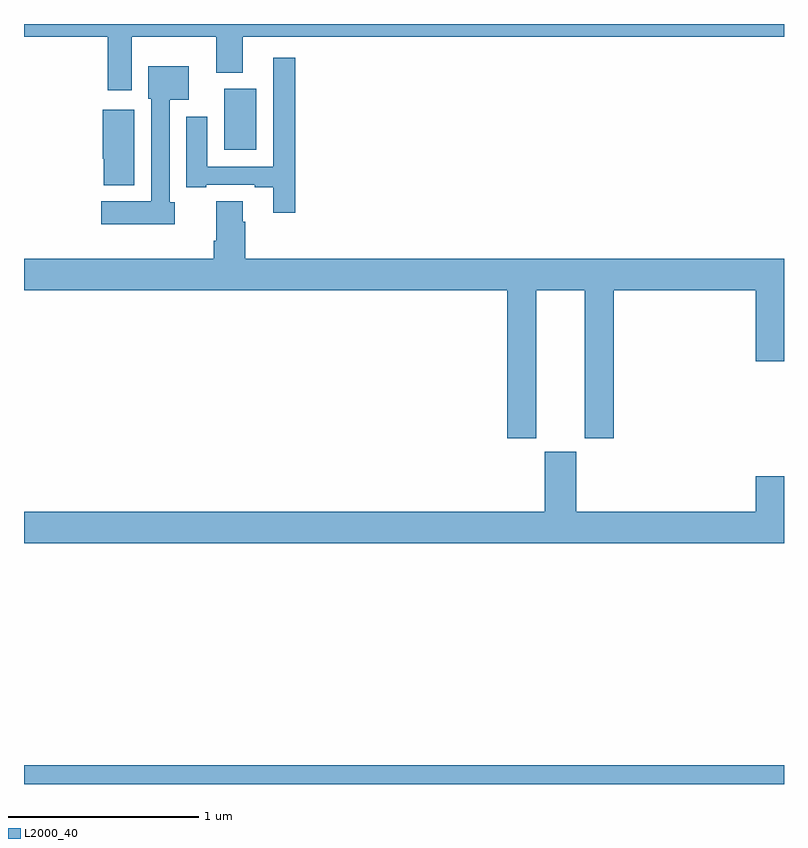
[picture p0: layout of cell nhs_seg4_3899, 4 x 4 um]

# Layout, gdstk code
import gdstk
lib = gdstk.Library(unit=1e-6, precision=1e-09)
def R(c, l, rs):  # rectangles x0, y0, x1, y1
    for r in rs: c.add(gdstk.rectangle(r[:2], r[2:], *l))
def P(c, l, *ps):  # polygons
    for p in ps: c.add(gdstk.Polygon(p, *l))
L2000_40 = (2000, 40)

nhs_seg4_3899 = lib.new_cell('nhs_seg4_3899')
R(nhs_seg4_3899, L2000_40, [(317,780.9,321,781), (318.053,784.238,318.223,784.558)])
P(nhs_seg4_3899, L2000_40, [(317.566,784.832),(318.011,784.832),(318.011,784.643),(318.151,784.643),(318.151,784.832),(321,784.832),(321,784.9),(317,784.9),(317,784.832),(317.441,784.832),(317.441,784.551),(317.566,784.551)],
  [(318.428,784.723),(318.312,784.723),(318.312,784.149),(317.965,784.149),(317.965,784.411),(317.855,784.411),(317.855,784.041),(317.959,784.041),(317.959,784.053),(318.215,784.053),(318.215,784.041),(318.311,784.041),(318.311,783.906),(318.428,783.906)],
  [(317.794,783.963),(317.766,783.963),(317.766,784.502),(317.866,784.502),(317.866,784.678),(317.654,784.678),(317.654,784.506),(317.67,784.506),(317.67,783.967),(317.406,783.967),(317.406,783.845),(317.794,783.845)],
  [(317.581,784.45),(317.414,784.45),(317.414,784.191),(317.42,784.191),(317.42,784.052),(317.581,784.052)],
  [(319.696,783.5),(319.952,783.5),(319.952,782.721),(320.105,782.721),(320.105,783.5),(320.852,783.5),(320.852,783.126),(321,783.126),(321,783.664),(318.164,783.664),(318.164,783.86),(318.151,783.86),(318.151,783.968),(318.011,783.968),(318.011,783.76),(317.999,783.76),(317.999,783.664),(317,783.664),(317,783.5),(319.544,783.5),(319.544,782.721),(319.696,782.721)],
  [(321,782.521),(320.852,782.521),(320.852,782.332),(319.906,782.332),(319.906,782.649),(319.742,782.649),(319.742,782.332),(317,782.332),(317,782.168),(321,782.168)])

lib.write_gds('nhs_seg4_3899.gds')
